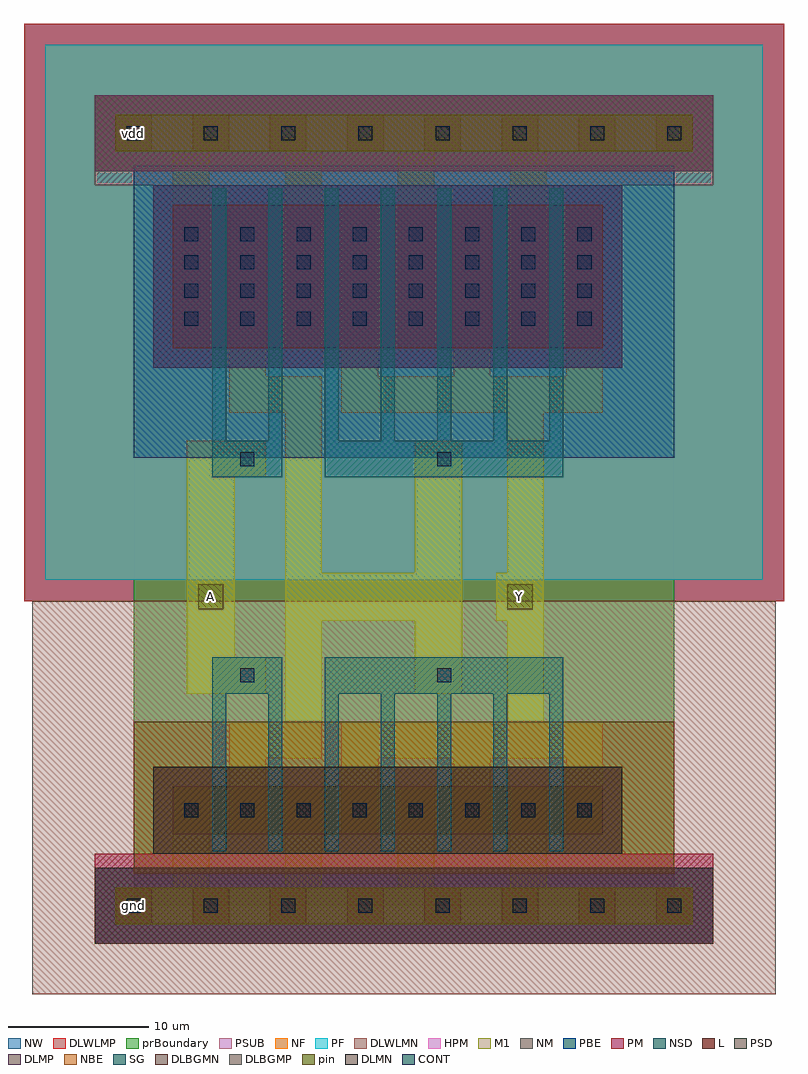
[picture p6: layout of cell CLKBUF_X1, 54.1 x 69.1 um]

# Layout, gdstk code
import gdstk
lib = gdstk.Library(unit=1e-6, precision=1e-09)
def R(c, l, rs):  # rectangles x0, y0, x1, y1
    for r in rs: c.add(gdstk.rectangle(r[:2], r[2:], *l))
def A(c, l, x, y, w, h, nx, ny, dx, dy):  # array of equal rectangles
    R(c, l, [(x+i*dx, y+j*dy, x+i*dx+w, y+j*dy+h) for i in range(nx) for j in range(ny)])
def P(c, l, *ps):  # polygons
    for p in ps: c.add(gdstk.Polygon(p, *l))
L = (3, 0)
NM = (7, 0)
SG = (8, 0)
PSD = (9, 0)
CONT = (11, 0)
M1 = (13, 0)
NF = (25, 0)
PF = (26, 0)
NSD = (28, 0)
HPM = (33, 0)
PM = (35, 0)
NW = (36, 0)
pin = (48, 1)
PSUB = (140, 0)
PBE = (146, 0)
NBE = (147, 0)
DLWLMP = (150, 0)
DLWLMN = (151, 0)
DLMP = (157, 0)
DLMN = (158, 0)
DLBGMP = (177, 0)
DLBGMN = (178, 0)
prBoundary = (235, 0)

clkbuf_x1 = lib.new_cell('CLKBUF_X1')
A(clkbuf_x1, L, -1.3, -1.3, 2.6, 2.6, 8, 2, 5.5, 55)
R(clkbuf_x1, L, [(2.8,5.1,33.4,8.5), (2.8,39.7,33.4,49.9)])
R(clkbuf_x1, NM, [(-2.75,-2.7,41.25,2.7)])
P(clkbuf_x1, NM, [(1.4,38.3),(1.4,51.3),(-2.75,51.3),(-2.75,57.7),(41.25,57.7),(41.25,51.3),(34.8,51.3),(34.8,38.3)])
P(clkbuf_x1, SG, [(5.6,3.9),(5.6,17.7),(10.6,17.7),(10.6,3.9),(9.6,3.9),(9.6,15.1),(6.6,15.1),(6.6,3.9)],
  [(13.6,3.9),(13.6,17.7),(30.6,17.7),(30.6,3.9),(29.6,3.9),(29.6,15.1),(26.6,15.1),(26.6,3.9),(25.6,3.9),(25.6,15.1),(22.6,15.1),(22.6,3.9),(21.6,3.9),(21.6,15.1),(18.6,15.1),(18.6,3.9),(17.6,3.9),(17.6,15.1),(14.6,15.1),(14.6,3.9)],
  [(5.6,30.5),(5.6,51.1),(6.6,51.1),(6.6,33.1),(9.6,33.1),(9.6,51.1),(10.6,51.1),(10.6,30.5)],
  [(13.6,30.5),(13.6,51.1),(14.6,51.1),(14.6,33.1),(17.6,33.1),(17.6,51.1),(18.6,51.1),(18.6,33.1),(21.6,33.1),(21.6,51.1),(22.6,51.1),(22.6,33.1),(25.6,33.1),(25.6,51.1),(26.6,51.1),(26.6,33.1),(29.6,33.1),(29.6,51.1),(30.6,51.1),(30.6,30.5)])
R(clkbuf_x1, PSD, [(1.4,3.7,34.8,9.9), (-2.75,52.3,41.25,57.7)])
A(clkbuf_x1, CONT, -0.5, -0.5, 1, 1, 8, 2, 5.5, 55)
A(clkbuf_x1, CONT, 3.6, 6.3, 1, 1, 3, 2, 4, 35)
A(clkbuf_x1, CONT, 11.6, 6.3, 1, 1, 6, 2, 4, 35)
A(clkbuf_x1, CONT, 3.6, 43.3, 1, 1, 3, 3, 4, 2)
A(clkbuf_x1, CONT, 11.6, 43.3, 1, 1, 6, 3, 4, 2)
R(clkbuf_x1, CONT, [(7.6,15.9,8.6,16.9), (21.6,15.9,22.6,16.9), (21.6,15.9,22.6,16.9), (7.6,31.3,8.6,32.3), (21.6,31.3,22.6,32.3)])
P(clkbuf_x1, M1, [(-1.3,-1.3),(-1.3,1.3),(2.8,1.3),(2.8,8.5),(5.4,8.5),(5.4,1.3),(10.8,1.3),(10.8,8.5),(13.4,8.5),(13.4,1.3),(18.8,1.3),(18.8,8.5),(21.4,8.5),(21.4,1.3),(26.8,1.3),(26.8,8.5),(29.4,8.5),(29.4,1.3),(39.8,1.3),(39.8,-1.3)],
  [(3.8,15.1),(3.8,33.1),(9.4,33.1),(9.4,30.5),(7.2,30.5),(7.2,17.7),(9.4,17.7),(9.4,15.1)],
  [(6.8,5.1),(6.8,13.1),(10.8,13.1),(10.8,35.1),(6.8,35.1),(6.8,49.9),(9.4,49.9),(9.4,37.7),(13.4,37.7),(13.4,23.7),(20,23.7),(20,33.1),(23.4,33.1),(23.4,15.1),(20,15.1),(20,20.3),(13.4,20.3),(13.4,10.5),(9.4,10.5),(9.4,5.1)],
  [(14.8,5.1),(14.8,13.1),(26.6,13.1),(26.6,20.3),(25.8,20.3),(25.8,23.7),(26.6,23.7),(26.6,35.1),(14.8,35.1),(14.8,49.9),(17.4,49.9),(17.4,37.7),(22.8,37.7),(22.8,49.9),(25.4,49.9),(25.4,37.7),(30.8,37.7),(30.8,49.9),(33.4,49.9),(33.4,35.1),(29.2,35.1),(29.2,13.1),(33.4,13.1),(33.4,5.1),(30.8,5.1),(30.8,10.5),(25.4,10.5),(25.4,5.1),(22.8,5.1),(22.8,10.5),(17.4,10.5),(17.4,5.1)],
  [(2.8,39.7),(2.8,53.7),(-1.3,53.7),(-1.3,56.3),(39.8,56.3),(39.8,53.7),(29.4,53.7),(29.4,39.7),(26.8,39.7),(26.8,53.7),(21.4,53.7),(21.4,39.7),(18.8,39.7),(18.8,53.7),(13.4,53.7),(13.4,39.7),(10.8,39.7),(10.8,53.7),(5.4,53.7),(5.4,39.7)])
R(clkbuf_x1, NF, [(-6.3,23.2,44.8,61.3)])
R(clkbuf_x1, PF, [(-6.3,23.2,44.8,61.3)])
R(clkbuf_x1, NSD, [(-2.75,-2.7,41.25,2.7), (1.4,38.3,34.8,51.3)])
P(clkbuf_x1, HPM, [(-2.75,-2.7),(-2.75,3.7),(1.4,3.7),(1.4,9.9),(34.8,9.9),(34.8,3.7),(41.25,3.7),(41.25,-2.7)],
  [(1.4,38.3),(1.4,51.3),(-2.75,51.3),(-2.75,57.7),(41.25,57.7),(41.25,51.3),(34.8,51.3),(34.8,38.3)])
R(clkbuf_x1, PM, [(-2.75,52.3,41.25,57.7)])
P(clkbuf_x1, PM, [(-2.75,-2.7),(-2.75,3.7),(1.4,3.7),(1.4,9.9),(34.8,9.9),(34.8,3.7),(41.25,3.7),(41.25,-2.7)])
R(clkbuf_x1, NW, [(-7.8,21.7,46.3,62.8)])
R(clkbuf_x1, pin, [(-1.3,-1.3,39.8,1.3), (4.6,21.1,6.4,22.9), (26.6,21.1,28.4,22.9), (-1.3,53.7,39.8,56.3)])
R(clkbuf_x1, PSUB, [(-6.3,23.2,44.8,61.3)])
R(clkbuf_x1, PBE, [(0,31.9,38.5,52.7)])
R(clkbuf_x1, NBE, [(0,2.3,38.5,13.1)])
R(clkbuf_x1, DLWLMP, [(-7.8,21.7,46.3,62.8)])
R(clkbuf_x1, DLWLMN, [(-7.2,-6.3,45.7,21.7)])
R(clkbuf_x1, DLMP, [(1.4,38.3,34.8,51.3)])
R(clkbuf_x1, DLMN, [(1.4,3.7,34.8,9.9)])
R(clkbuf_x1, DLBGMP, [(-2.75,52.3,41.25,57.7)])
R(clkbuf_x1, DLBGMN, [(-2.75,-2.7,41.25,2.7)])
R(clkbuf_x1, prBoundary, [(0,0,38.5,55)])
clkbuf_x1.add(gdstk.Label('vdd', (0,55), layer=48, texttype=0))
clkbuf_x1.add(gdstk.Label('A', (5.5,22), layer=48, texttype=0))
clkbuf_x1.add(gdstk.Label('gnd', (0,0), layer=48, texttype=0))
clkbuf_x1.add(gdstk.Label('Y', (27.5,22), layer=48, texttype=0))

lib.write_gds('CLKBUF_X1.gds')
